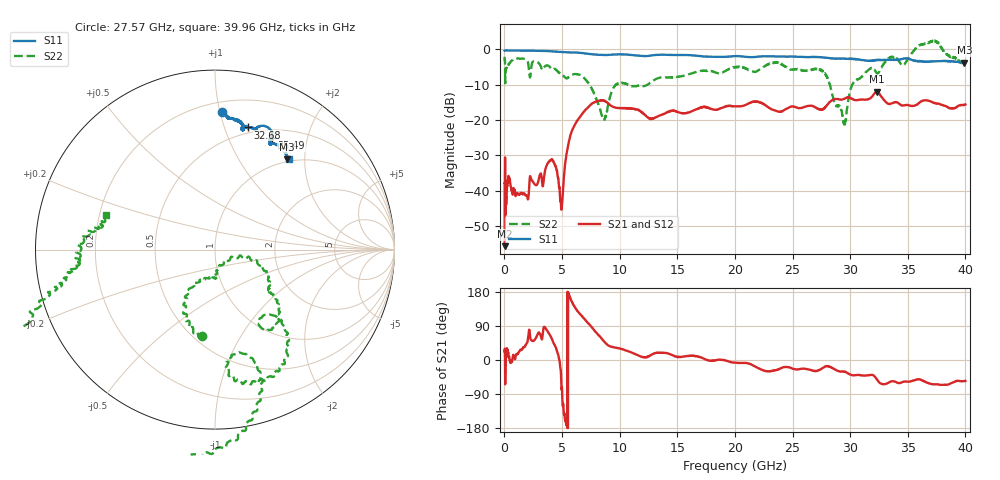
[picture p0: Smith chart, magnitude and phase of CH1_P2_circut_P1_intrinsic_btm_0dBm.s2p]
!Keysight Technologies,N5222B,MY61257109,A.17.25.03
!Date: Tuesday, July 21, 2026 12:08:18
!Correction: S11(C  2-Port  )
!S21(C  2-Port  )
!S12(C  2-Port  )
!S22(C  2-Port  )
!S2P File: Measurements: S11, S21, S12, S22:
# Hz S  dB  R 50
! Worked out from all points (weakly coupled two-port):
!   4000 points, 10 MHz to 40 GHz, reference 50 ohm
!   highest |S21| = -12.00 dB at 32.34 GHz (marker M1); lowest = -55.6 dB at 10 MHz (marker M2)
!   lowest |S11| = -3.8 dB at 39.91 GHz (marker M3), VSWR 4.61, Z = 47.9 + j82.3 ohm
!   |S11| at or under -10 dB: nowhere
!   |S22| runs from -22.0 to 2.5 dB; largest |S21 - S12| = 0.0026
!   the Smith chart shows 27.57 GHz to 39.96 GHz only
!   S11 on the Smith chart (normalised r, x): 27.57 GHz: 0.27, +1.01; 32.68 GHz: 0.44, +1.20; 35.49 GHz: 0.60, +1.46; 39.96 GHz: 0.95, +1.69
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1e7  -0.41 -179.8  -55.64 22.5  -56.67 23.4  -2.15 -46.8
5.9e8  -0.35 177.4  -39.46 -6.0  -39.44 -6.1  -3.32 166.3
1.73e9  -0.38 172.3  -40.75 34.3  -40.73 34.2  -2.72 101.5
4.06e9  -0.57 161.8  -31.31 59.6  -31.15 60.0  -5.48 34.1
4.93e9  -0.77 158.0  -45.25 -59.8  -44.38 -51.9  -6.94 18.4
5.65e9  -0.90 155.6  -25.23 167.2  -25.16 169.5  -7.68 19.2
6.68e9  -1.06 151.1  -18.56 117.4  -18.57 117.2  -7.48 -6.2
8.61e9  -1.66 146.9  -14.54 50.1  -14.51 50.1  -19.59 8.3
1.334e10  -1.59 134.2  -18.91 19.1  -18.92 19.6  -8.19 8.2
2.001e10  -1.96 113.2  -16.14 -7.1  -16.16 -6.8  -5.13 -29.9
2.667e10  -2.17 91.3  -16.00 -27.4  -15.99 -27.6  -5.74 -78.4
2.757e10  -2.32 87.2  -16.93 -22.1  -16.94 -22.1  -6.26 -98.7
2.948e10  -2.65 82.0  -14.04 -31.0  -14.03 -30.9  -20.50 -60.5
3.234e10  -3.08 76.3  -12.00 -52.0  -12.00 -52.0  -6.76 -55.7
3.268e10  -3.04 74.9  -13.31 -62.5  -13.27 -62.7  -5.29 -46.8
3.334e10  -2.97 73.4  -15.46 -59.8  -15.44 -59.8  -2.62 -59.9
3.549e10  -3.13 62.9  -16.02 -54.1  -16.00 -54.2  -0.59 -77.0
3.678e10  -3.56 62.5  -14.55 -61.0  -14.53 -61.1  1.72 -115.0
3.759e10  -3.39 60.2  -15.36 -64.2  -15.34 -64.3  1.82 -148.6
3.991e10  -3.83 51.4  -15.68 -55.4  -15.65 -55.3  -3.74 164.0
3.996e10  -3.69 50.9  -15.75 -55.5  -15.72 -55.6  -3.89 162.5
4e10  -3.78 51.3  -15.62 -55.2  -15.57 -55.3  -3.62 161.0
